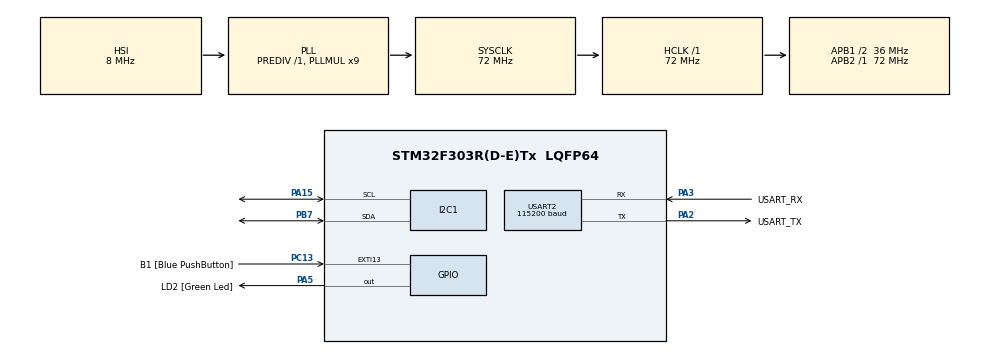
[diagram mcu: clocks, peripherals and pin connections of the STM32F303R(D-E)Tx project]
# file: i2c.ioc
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I2C1.Speed=100
Mcu.Family=STM32F3
Mcu.Name=STM32F303R(D-E)Tx
Mcu.Package=LQFP64
NVIC.PriorityGroup=NVIC_PRIORITYGROUP_0
PA13.GPIO_Label=TMS
PA13.Mode=Serial_Wire
PA13.Signal=SYS_JTMS-SWDIO
PA14.GPIO_Label=TCK
PA14.Mode=Serial_Wire
PA14.Signal=SYS_JTCK-SWCLK
PA15.GPIO_PuPdOD=GPIO_NOPULL
PA15.Mode=I2C
PA15.Signal=I2C1_SCL
PA2.GPIO_Label=USART_TX
PA2.GPIO_Mode=GPIO_MODE_AF_PP
PA2.GPIO_PuPd=GPIO_NOPULL
PA2.GPIO_Speed=GPIO_SPEED_FREQ_LOW
PA2.Mode=Asynchronous
PA2.Signal=USART2_TX
PA3.GPIO_Label=USART_RX
PA3.GPIO_Mode=GPIO_MODE_AF_PP
PA3.GPIO_PuPd=GPIO_NOPULL
PA3.GPIO_Speed=GPIO_SPEED_FREQ_LOW
PA3.Mode=Asynchronous
PA3.Signal=USART2_RX
PA5.GPIO_Label=LD2 [Green Led]
PA5.GPIO_Mode=GPIO_MODE_OUTPUT_PP
PA5.GPIO_ModeDefaultOutputPP=GPIO_MODE_OUTPUT_PP
PA5.GPIO_PuPd=GPIO_NOPULL
PA5.GPIO_Speed=GPIO_SPEED_FREQ_LOW
PA5.Signal=GPIO_Output
PB3.GPIO_Label=SWO
PB3.Signal=SYS_JTDO-TRACESWO
PB7.GPIO_PuPdOD=GPIO_NOPULL
PB7.Mode=I2C
PB7.Signal=I2C1_SDA
PC13.GPIO_Label=B1 [Blue PushButton]
PC13.GPIO_ModeDefaultEXTI=GPIO_MODE_IT_FALLING
PC13.Signal=GPXTI13
PC14-OSC32_IN.Mode=LSE-External-Oscillator
PC14-OSC32_IN.Signal=RCC_OSC32_IN
PC15-OSC32_OUT.Mode=LSE-External-Oscillator
PC15-OSC32_OUT.Signal=RCC_OSC32_OUT
PF0-OSC_IN.Mode=HSE-External-Clock-Source
PF0-OSC_IN.Signal=RCC_OSC_IN
PF1-OSC_OUT.Signal=RCC_OSC_OUT
ProjectManager.HeapSize=0x200
ProjectManager.StackSize=0x400
ProjectManager.TargetToolchain=TrueSTUDIO
RCC.AHBFreq_Value=72000000
RCC.APB1CLKDivider=RCC_HCLK_DIV2
RCC.APB1Freq_Value=36000000
RCC.APB1TimFreq_Value=72000000
RCC.APB2Freq_Value=72000000
RCC.APB2TimFreq_Value=72000000
RCC.CortexFreq_Value=72000000
RCC.HCLKFreq_Value=72000000
RCC.HSE_VALUE=8000000
RCC.HSI_VALUE=8000000
RCC.PLLM=8
RCC.PLLMUL=RCC_PLL_MUL9
RCC.PLLN=336
RCC.PLLP=RCC_PLLP_DIV4
RCC.PLLQ=7
RCC.RCC_PLLsource_Clock_Source_FROM_HSE=RCC_HSE_PREDIV_DIV2
RCC.SYSCLKFreq_VALUE=72000000
RCC.SYSCLKSourceVirtual=RCC_SYSCLKSOURCE_PLLCLK
RCC.USBFreq_Value=72000000
USART2.BaudRate=115200
USART2.VirtualMode-Asynchronous=VM_ASYNC
USART2.WordLength=WORDLENGTH_8B
board=NUCLEO-F303RE

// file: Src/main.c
/**
  ******************************************************************************
  * @file           : main.c
  * @brief          : Main program body
  ******************************************************************************
  ** This notice applies to any and all portions of this file
  * that are not between comment pairs USER CODE BEGIN and
  * USER CODE END. Other portions of this file, whether
  * inserted by the user or by software development tools
  * are owned by their respective copyright owners.
  *
  * COPYRIGHT(c) 2026 STMicroelectronics
  *
  * Redistribution and use in source and binary forms, with or without modification,
  * are permitted provided that the following conditions are met:
  *   1. Redistributions of source code must retain the above copyright notice,
  *      this list of conditions and the following disclaimer.
  *   2. Redistributions in binary form must reproduce the above copyright notice,
  *      this list of conditions and the following disclaimer in the documentation
  *      and/or other materials provided with the distribution.
  *   3. Neither the name of STMicroelectronics nor the names of its contributors
  *      may be used to endorse or promote products derived from this software
  *      without specific prior written permission.
  *
  * THIS SOFTWARE IS PROVIDED BY THE COPYRIGHT HOLDERS AND CONTRIBUTORS "AS IS"
  * AND ANY EXPRESS OR IMPLIED WARRANTIES, INCLUDING, BUT NOT LIMITED TO, THE
  * IMPLIED WARRANTIES OF MERCHANTABILITY AND FITNESS FOR A PARTICULAR PURPOSE ARE
  * DISCLAIMED. IN NO EVENT SHALL THE COPYRIGHT HOLDER OR CONTRIBUTORS BE LIABLE
  * FOR ANY DIRECT, INDIRECT, INCIDENTAL, SPECIAL, EXEMPLARY, OR CONSEQUENTIAL
  * DAMAGES (INCLUDING, BUT NOT LIMITED TO, PROCUREMENT OF SUBSTITUTE GOODS OR
  * SERVICES; LOSS OF USE, DATA, OR PROFITS; OR BUSINESS INTERRUPTION) HOWEVER
  * CAUSED AND ON ANY THEORY OF LIABILITY, WHETHER IN CONTRACT, STRICT LIABILITY,
  * OR TORT (INCLUDING NEGLIGENCE OR OTHERWISE) ARISING IN ANY WAY OUT OF THE USE
  * OF THIS SOFTWARE, EVEN IF ADVISED OF THE POSSIBILITY OF SUCH DAMAGE.
  *
  ******************************************************************************
  */
#include "main.h"
#include "stm32f3xx_hal.h"
#include <stdio.h>
#include <string.h>

I2C_HandleTypeDef hi2c1;

UART_HandleTypeDef huart2;

/* USER CODE BEGIN PV */
/* Private variables ---------------------------------------------------------*/
#define ADXL345_ADDR   (0x53 << 1)
#define I2C_TIMEOUT    100
/* USER CODE END PV */

void SystemClock_Config(void);
static void MX_GPIO_Init(void);
static void MX_USART2_UART_Init(void);
static void MX_I2C1_Init(void);

/* USER CODE BEGIN PFP */
/* Private function prototypes -----------------------------------------------*/

/* USER CODE END PFP */

/* USER CODE BEGIN 0 */
/* 寫入單一寄存器 */
HAL_StatusTypeDef ADXL345_I2C_WriteReg(uint8_t reg, uint8_t data) {
    uint8_t buf[2] = { reg, data };
    HAL_StatusTypeDef ret = HAL_I2C_Master_Transmit(
        &hi2c1, ADXL345_ADDR, buf, 2, I2C_TIMEOUT);
    if (ret != HAL_OK) {
        printf("[I2C ERR] WriteReg 0x%02X failed, HAL=%d\r\n", reg, ret);
    }
    return ret;
}

/* 讀取單一寄存器 */
uint8_t ADXL345_I2C_ReadReg(uint8_t reg) {
    uint8_t val = 0;
    HAL_StatusTypeDef ret;

    /* 先送出寄存器地址 */
    ret = HAL_I2C_Master_Transmit(
        &hi2c1, ADXL345_ADDR, &reg, 1, I2C_TIMEOUT);
    if (ret != HAL_OK) {
        printf("[I2C ERR] ReadReg Tx 0x%02X failed, HAL=%d\r\n", reg, ret);
        return 0;
    }

    /* 再讀取 1 byte */
    ret = HAL_I2C_Master_Receive(
        &hi2c1, ADXL345_ADDR, &val, 1, I2C_TIMEOUT);
    if (ret != HAL_OK) {
        printf("[I2C ERR] ReadReg Rx 0x%02X failed, HAL=%d\r\n", reg, ret);
        return 0;
    }
    return val;
}

/* 更簡潔的寫法：使用 Mem_Read / Mem_Write（HAL 內建） */
HAL_StatusTypeDef ADXL345_I2C_MemWrite(uint8_t reg, uint8_t data) {
    return HAL_I2C_Mem_Write(
        &hi2c1, ADXL345_ADDR,
        reg, I2C_MEMADD_SIZE_8BIT,
        &data, 1, I2C_TIMEOUT);
}

uint8_t ADXL345_I2C_MemRead(uint8_t reg) {
    uint8_t val = 0;
    HAL_I2C_Mem_Read(
        &hi2c1, ADXL345_ADDR,
        reg, I2C_MEMADD_SIZE_8BIT,
        &val, 1, I2C_TIMEOUT);
    return val;
}

/* 連續讀取多個寄存器（Burst read） */
HAL_StatusTypeDef ADXL345_I2C_ReadMulti(uint8_t reg, uint8_t *buf, uint8_t len) {
    return HAL_I2C_Mem_Read(
        &hi2c1, ADXL345_ADDR,
        reg, I2C_MEMADD_SIZE_8BIT,
        buf, len, I2C_TIMEOUT);
}

void ADXL345_I2C_Init(void) {
    HAL_StatusTypeDef ret;

    /* 確認 Device ID */
    uint8_t id = ADXL345_I2C_MemRead(0x00);
    printf("[I2C] Device ID = 0x%02X %s\r\n",
           id, (id == 0xE5) ? "(OK)" : "(FAIL!)");

    /* DATA_FORMAT: Full resolution, ±2g */
    ret = ADXL345_I2C_MemWrite(0x31, 0x08);
    printf("[I2C] DATA_FORMAT write %s\r\n",
           (ret == HAL_OK) ? "OK" : "FAIL");

    /* BW_RATE: 100Hz */
    ADXL345_I2C_MemWrite(0x2C, 0x0A);

    /* POWER_CTL: Measure mode */
    ret = ADXL345_I2C_MemWrite(0x2D, 0x08);
    printf("[I2C] POWER_CTL (Measure) write %s\r\n",
           (ret == HAL_OK) ? "OK" : "FAIL");
}

void ADXL345_I2C_ReadXYZ(int16_t *x, int16_t *y, int16_t *z) {
    uint8_t raw[6];
    HAL_StatusTypeDef ret = ADXL345_I2C_ReadMulti(0x32, raw, 6);

    if (ret != HAL_OK) {
        printf("[I2C ERR] ReadXYZ failed, HAL=%d\r\n", ret);
        *x = *y = *z = 0;
        return;
    }

    *x = (int16_t)((raw[1] << 8) | raw[0]);
    *y = (int16_t)((raw[3] << 8) | raw[2]);
    *z = (int16_t)((raw[5] << 8) | raw[4]);
}

void Debug_I2C_Error(HAL_StatusTypeDef ret, I2C_HandleTypeDef *hi2c) {
    char buf[80];
    const char *reason;

    switch (ret) {
        case HAL_ERROR:   reason = "HAL_ERROR (general)"; break;
        case HAL_BUSY:    reason = "HAL_BUSY (bus held)"; break;
        case HAL_TIMEOUT: reason = "HAL_TIMEOUT (no ACK?)"; break;
        default:          reason = "Unknown"; break;
    }

    /* 進一步看 ErrorCode */
    sprintf(buf, "[I2C] Status=%d (%s), ErrorCode=0x%08lX\r\n",
            ret, reason, hi2c->ErrorCode);
    HAL_UART_Transmit(&huart2, (uint8_t *)buf, strlen(buf), HAL_MAX_DELAY);

    /* 常見 ErrorCode:
       0x00000004 = AF (Address NACK) → 地址錯誤或裝置未回應
       0x00000008 = ARLO (Arbitration Lost)
       0x00000020 = TIMEOUT                */
}

void Debug_SprintfExample(int16_t x, int16_t y, int16_t z) {
    char buf[50] = {0};
    sprintf(buf, "[DATA] I2C raw X=%6d Y=%6d Z=%6d\r\n", x, y, z);
    HAL_UART_Transmit(&huart2, (uint8_t *)buf, strlen(buf), 100);
}

void Debug_PrintXYZ(int16_t x, int16_t y, int16_t z) {
		char buf[100] = {0};

		int32_t gx_val = ((int32_t)x * 39) / 100;
	    int32_t gy_val = ((int32_t)y * 39) / 100;
	    int32_t gz_val = ((int32_t)z * 39) / 100;

	    /* 2. 判斷正負號 */
	    char sx2 = (gx_val < 0) ? '-' : '+';
	    char sy2 = (gy_val < 0) ? '-' : '+';
	    char sz2 = (gz_val < 0) ? '-' : '+';

	    /* 3. 取絕對值，轉為無號數 */
	    uint32_t ax2 = (gx_val < 0) ? -gx_val : gx_val;
	    uint32_t ay2 = (gy_val < 0) ? -gy_val : gy_val;
	    uint32_t az2 = (gz_val < 0) ? -gz_val : gz_val;

	    /* ax / 10 取出 mg 整數部分，ax % 10 取出小數點後第一位 */
	//    sprintf(buf, "[G]    X=%c%lu.%lu mg  Y=%c%lu.%lu mg  Z=%c%lu.%lu mg\r\n",
	//            sx, ax / 10, ax % 10,
	//            sy, ay / 10, ay % 10,
	//            sz, az / 10, az % 10);
	//    HAL_UART_Transmit(&huart2, (uint8_t *)buf, strlen(buf), DELAY);
	    sprintf(buf, "[G]    X=%c%lu.%02lu g  Y=%c%lu.%02lu g  Z=%c%lu.%02lu g\r\n",
	                sx2, ax2 / 100, ax2 % 100,
	                sy2, ay2 / 100, ay2 % 100,
	                sz2, az2 / 100, az2 % 100);
	    HAL_UART_Transmit(&huart2, (uint8_t *)buf, strlen(buf), 1000);

//    char buf[100] = {0};
//
//    /* --- mg 輸出（1 LSB = 3.9 mg，用 39/10 整數近似）--- */
//    int32_t gx_mg = (int32_t)x * 39;
//    int32_t gy_mg = (int32_t)y * 39;
//    int32_t gz_mg = (int32_t)z * 39;
//
//    char sx = (gx_mg < 0) ? '-' : '+';
//    char sy = (gy_mg < 0) ? '-' : '+';
//    char sz = (gz_mg < 0) ? '-' : '+';
//    uint32_t ax = (gx_mg < 0) ? -gx_mg : gx_mg;
//    uint32_t ay = (gy_mg < 0) ? -gy_mg : gy_mg;
//    uint32_t az = (gz_mg < 0) ? -gz_mg : gz_mg;
//
//    sprintf(buf, "[mg]   X=%c%4lu.%lu  Y=%c%4lu.%lu  Z=%c%4lu.%lu\r\n",
//            sx, ax / 10, ax % 10,
//            sy, ay / 10, ay % 10,
//            sz, az / 10, az % 10);
//    HAL_UART_Transmit(&huart2, (uint8_t *)buf, strlen(buf), 100);
//
//    /* --- g 輸出（除以 1000，保留 3 位小數）--- */
//    int32_t gx_val = (int32_t)x * 39 / 10;   /* 單位：0.01 mg */
//    int32_t gy_val = (int32_t)y * 39 / 10;
//    int32_t gz_val = (int32_t)z * 39 / 10;
//
//    char sx2 = (gx_val < 0) ? '-' : '+';
//    char sy2 = (gy_val < 0) ? '-' : '+';
//    char sz2 = (gz_val < 0) ? '-' : '+';
//    uint32_t ax2 = (gx_val < 0) ? -gx_val : gx_val;
//    uint32_t ay2 = (gy_val < 0) ? -gy_val : gy_val;
//    uint32_t az2 = (gz_val < 0) ? -gz_val : gz_val;
//
//    sprintf(buf, "[g]    X=%c%lu.%02lu  Y=%c%lu.%02lu  Z=%c%lu.%02lu\r\n",
//            sx2, ax2 / 100, ax2 % 100,
//            sy2, ay2 / 100, ay2 % 100,
//            sz2, az2 / 100, az2 % 100);
//    HAL_UART_Transmit(&huart2, (uint8_t *)buf, strlen(buf), 100);
}
/* USER CODE END 0 */

int main(void)
 	 {

  /* MCU Configuration----------------------------------------------------------*/

  /* Reset of all peripherals, Initializes the Flash interface and the Systick. */
  HAL_Init();

  /* Configure the system clock */
  SystemClock_Config();

  /* Initialize all configured peripherals */
  MX_GPIO_Init();
  MX_USART2_UART_Init();
  MX_I2C1_Init();
  /* USER CODE BEGIN 2 */
  int16_t ax, ay, az;
  ADXL345_I2C_Init();
  /* USER CODE END 2 */

  /* Infinite loop */
  while (1)
  {

  /* USER CODE BEGIN 3 */
	  ADXL345_I2C_ReadXYZ(&ax, &ay, &az);
	  //Debug_SprintfExample(ax, ay, az);
	  Debug_PrintXYZ(ax, ay, az);
	  HAL_Delay(1500); /* 根據 100Hz 輸出率，50ms 讀取一次為合理間距 */

  }
  /* USER CODE END 3 */

}

void SystemClock_Config(void)
{

  RCC_OscInitTypeDef RCC_OscInitStruct;
  RCC_ClkInitTypeDef RCC_ClkInitStruct;
  RCC_PeriphCLKInitTypeDef PeriphClkInit;

    /**Initializes the CPU, AHB and APB busses clocks
    */
  RCC_OscInitStruct.OscillatorType = RCC_OSCILLATORTYPE_HSI;
  RCC_OscInitStruct.HSIState = RCC_HSI_ON;
  RCC_OscInitStruct.HSICalibrationValue = 16;
  RCC_OscInitStruct.PLL.PLLState = RCC_PLL_ON;
  RCC_OscInitStruct.PLL.PLLSource = RCC_PLLSOURCE_HSI;
  RCC_OscInitStruct.PLL.PLLMUL = RCC_PLL_MUL9;
  RCC_OscInitStruct.PLL.PREDIV = RCC_PREDIV_DIV1;
  if (HAL_RCC_OscConfig(&RCC_OscInitStruct) != HAL_OK)
  {
    _Error_Handler(__FILE__, __LINE__);
  }

    /**Initializes the CPU, AHB and APB busses clocks
    */
  RCC_ClkInitStruct.ClockType = RCC_CLOCKTYPE_HCLK|RCC_CLOCKTYPE_SYSCLK
                              |RCC_CLOCKTYPE_PCLK1|RCC_CLOCKTYPE_PCLK2;
  RCC_ClkInitStruct.SYSCLKSource = RCC_SYSCLKSOURCE_PLLCLK;
  RCC_ClkInitStruct.AHBCLKDivider = RCC_SYSCLK_DIV1;
  RCC_ClkInitStruct.APB1CLKDivider = RCC_HCLK_DIV2;
  RCC_ClkInitStruct.APB2CLKDivider = RCC_HCLK_DIV1;

  if (HAL_RCC_ClockConfig(&RCC_ClkInitStruct, FLASH_LATENCY_2) != HAL_OK)
  {
    _Error_Handler(__FILE__, __LINE__);
  }

  PeriphClkInit.PeriphClockSelection = RCC_PERIPHCLK_USART2|RCC_PERIPHCLK_I2C1;
  PeriphClkInit.Usart2ClockSelection = RCC_USART2CLKSOURCE_PCLK1;
  PeriphClkInit.I2c1ClockSelection = RCC_I2C1CLKSOURCE_HSI;
  if (HAL_RCCEx_PeriphCLKConfig(&PeriphClkInit) != HAL_OK)
  {
    _Error_Handler(__FILE__, __LINE__);
  }

    /**Configure the Systick interrupt time
    */
  HAL_SYSTICK_Config(HAL_RCC_GetHCLKFreq()/1000);

    /**Configure the Systick
    */
  HAL_SYSTICK_CLKSourceConfig(SYSTICK_CLKSOURCE_HCLK);

  /* SysTick_IRQn interrupt configuration */
  HAL_NVIC_SetPriority(SysTick_IRQn, 0, 0);
}

/* I2C1 init function */
static void MX_I2C1_Init(void)
{

  hi2c1.Instance = I2C1;
  hi2c1.Init.Timing = 0x2000090E;
  hi2c1.Init.OwnAddress1 = 0;
  hi2c1.Init.AddressingMode = I2C_ADDRESSINGMODE_7BIT;
  hi2c1.Init.DualAddressMode = I2C_DUALADDRESS_DISABLE;
  hi2c1.Init.OwnAddress2 = 0;
  hi2c1.Init.OwnAddress2Masks = I2C_OA2_NOMASK;
  hi2c1.Init.GeneralCallMode = I2C_GENERALCALL_DISABLE;
  hi2c1.Init.NoStretchMode = I2C_NOSTRETCH_DISABLE;
  if (HAL_I2C_Init(&hi2c1) != HAL_OK)
  {
    _Error_Handler(__FILE__, __LINE__);
  }

    /**Configure Analogue filter
    */
  if (HAL_I2CEx_ConfigAnalogFilter(&hi2c1, I2C_ANALOGFILTER_ENABLE) != HAL_OK)
  {
    _Error_Handler(__FILE__, __LINE__);
  }

    /**Configure Digital filter
    */
  if (HAL_I2CEx_ConfigDigitalFilter(&hi2c1, 0) != HAL_OK)
  {
    _Error_Handler(__FILE__, __LINE__);
  }

}

/* USART2 init function */
static void MX_USART2_UART_Init(void)
{

  huart2.Instance = USART2;
  huart2.Init.BaudRate = 115200;
  huart2.Init.WordLength = UART_WORDLENGTH_8B;
  huart2.Init.StopBits = UART_STOPBITS_1;
  huart2.Init.Parity = UART_PARITY_NONE;
  huart2.Init.Mode = UART_MODE_TX_RX;
  huart2.Init.HwFlowCtl = UART_HWCONTROL_NONE;
  huart2.Init.OverSampling = UART_OVERSAMPLING_16;
  huart2.Init.OneBitSampling = UART_ONE_BIT_SAMPLE_DISABLE;
  huart2.AdvancedInit.AdvFeatureInit = UART_ADVFEATURE_NO_INIT;
  if (HAL_UART_Init(&huart2) != HAL_OK)
  {
    _Error_Handler(__FILE__, __LINE__);
  }

}

/** Configure pins as
        * Analog
        * Input
        * Output
        * EVENT_OUT
        * EXTI
*/
static void MX_GPIO_Init(void)
{

  GPIO_InitTypeDef GPIO_InitStruct;

  /* GPIO Ports Clock Enable */
  __HAL_RCC_GPIOC_CLK_ENABLE();
  __HAL_RCC_GPIOF_CLK_ENABLE();
  __HAL_RCC_GPIOA_CLK_ENABLE();
  __HAL_RCC_GPIOB_CLK_ENABLE();

  /*Configure GPIO pin Output Level */
  HAL_GPIO_WritePin(LD2_GPIO_Port, LD2_Pin, GPIO_PIN_RESET);

  /*Configure GPIO pin : B1_Pin */
  GPIO_InitStruct.Pin = B1_Pin;
  GPIO_InitStruct.Mode = GPIO_MODE_IT_FALLING;
  GPIO_InitStruct.Pull = GPIO_NOPULL;
  HAL_GPIO_Init(B1_GPIO_Port, &GPIO_InitStruct);

  /*Configure GPIO pin : LD2_Pin */
  GPIO_InitStruct.Pin = LD2_Pin;
  GPIO_InitStruct.Mode = GPIO_MODE_OUTPUT_PP;
  GPIO_InitStruct.Pull = GPIO_NOPULL;
  GPIO_InitStruct.Speed = GPIO_SPEED_FREQ_LOW;
  HAL_GPIO_Init(LD2_GPIO_Port, &GPIO_InitStruct);

}

void _Error_Handler(char *file, int line)
{
  while(1)
  {
  }
}

/************************ (C) COPYRIGHT STMicroelectronics *****END OF FILE****/
